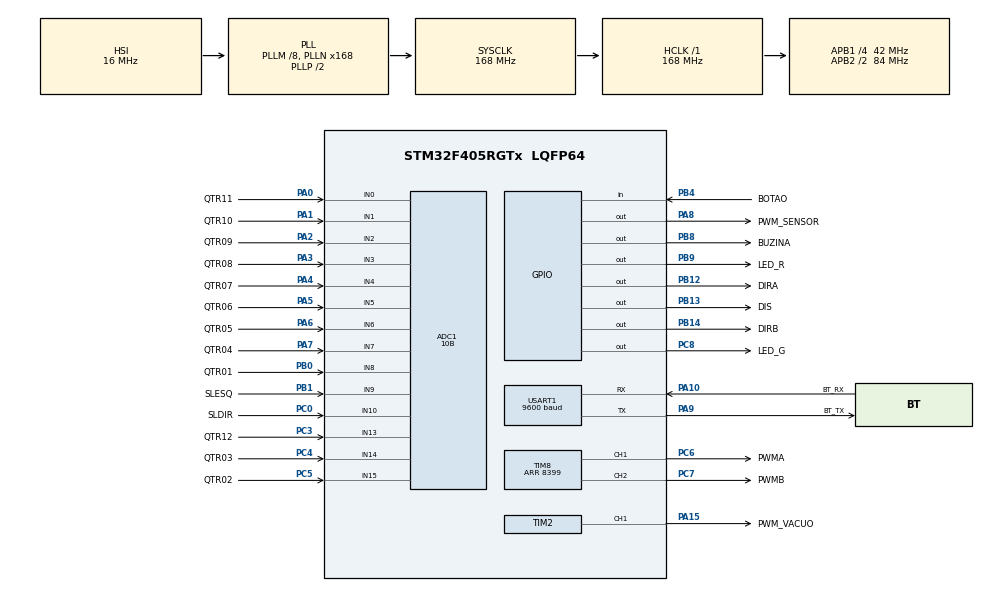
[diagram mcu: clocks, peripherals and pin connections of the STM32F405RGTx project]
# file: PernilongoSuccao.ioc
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ADC1.Channel-0\#ChannelRegularConversion=ADC_CHANNEL_10
ADC1.Channel-1\#ChannelRegularConversion=ADC_CHANNEL_13
ADC1.Channel-10\#ChannelRegularConversion=ADC_CHANNEL_14
ADC1.Channel-11\#ChannelRegularConversion=ADC_CHANNEL_15
ADC1.Channel-12\#ChannelRegularConversion=ADC_CHANNEL_8
ADC1.Channel-13\#ChannelRegularConversion=ADC_CHANNEL_9
ADC1.Channel-2\#ChannelRegularConversion=ADC_CHANNEL_0
ADC1.Channel-3\#ChannelRegularConversion=ADC_CHANNEL_1
ADC1.Channel-4\#ChannelRegularConversion=ADC_CHANNEL_2
ADC1.Channel-5\#ChannelRegularConversion=ADC_CHANNEL_3
ADC1.Channel-6\#ChannelRegularConversion=ADC_CHANNEL_4
ADC1.Channel-7\#ChannelRegularConversion=ADC_CHANNEL_5
ADC1.Channel-8\#ChannelRegularConversion=ADC_CHANNEL_6
ADC1.Channel-9\#ChannelRegularConversion=ADC_CHANNEL_7
ADC1.ContinuousConvMode=ENABLE
ADC1.DMAContinuousRequests=ENABLE
ADC1.NbrOfConversion=14
ADC1.NbrOfConversionFlag=1
ADC1.Rank-0\#ChannelRegularConversion=1
ADC1.Rank-1\#ChannelRegularConversion=2
ADC1.Rank-10\#ChannelRegularConversion=11
ADC1.Rank-11\#ChannelRegularConversion=12
ADC1.Rank-12\#ChannelRegularConversion=13
ADC1.Rank-13\#ChannelRegularConversion=14
ADC1.Rank-2\#ChannelRegularConversion=3
ADC1.Rank-3\#ChannelRegularConversion=4
ADC1.Rank-4\#ChannelRegularConversion=5
ADC1.Rank-5\#ChannelRegularConversion=6
ADC1.Rank-6\#ChannelRegularConversion=7
ADC1.Rank-7\#ChannelRegularConversion=8
ADC1.Rank-8\#ChannelRegularConversion=9
ADC1.Rank-9\#ChannelRegularConversion=10
ADC1.Resolution=ADC_RESOLUTION_10B
ADC1.SamplingTime-0\#ChannelRegularConversion=ADC_SAMPLETIME_15CYCLES
ADC1.SamplingTime-1\#ChannelRegularConversion=ADC_SAMPLETIME_15CYCLES
ADC1.SamplingTime-10\#ChannelRegularConversion=ADC_SAMPLETIME_15CYCLES
ADC1.SamplingTime-11\#ChannelRegularConversion=ADC_SAMPLETIME_15CYCLES
ADC1.SamplingTime-12\#ChannelRegularConversion=ADC_SAMPLETIME_15CYCLES
ADC1.SamplingTime-13\#ChannelRegularConversion=ADC_SAMPLETIME_15CYCLES
ADC1.SamplingTime-2\#ChannelRegularConversion=ADC_SAMPLETIME_15CYCLES
ADC1.SamplingTime-3\#ChannelRegularConversion=ADC_SAMPLETIME_15CYCLES
ADC1.SamplingTime-4\#ChannelRegularConversion=ADC_SAMPLETIME_15CYCLES
ADC1.SamplingTime-5\#ChannelRegularConversion=ADC_SAMPLETIME_15CYCLES
ADC1.SamplingTime-6\#ChannelRegularConversion=ADC_SAMPLETIME_15CYCLES
ADC1.SamplingTime-7\#ChannelRegularConversion=ADC_SAMPLETIME_15CYCLES
ADC1.SamplingTime-8\#ChannelRegularConversion=ADC_SAMPLETIME_15CYCLES
ADC1.SamplingTime-9\#ChannelRegularConversion=ADC_SAMPLETIME_15CYCLES
ADC1.ScanConvMode=ENABLE
ADC1.master=1
Dma.ADC1.0.Direction=DMA_PERIPH_TO_MEMORY
Dma.ADC1.0.FIFOMode=DMA_FIFOMODE_DISABLE
Dma.ADC1.0.Instance=DMA2_Stream0
Dma.ADC1.0.MemDataAlignment=DMA_MDATAALIGN_HALFWORD
Dma.ADC1.0.MemInc=DMA_MINC_ENABLE
Dma.ADC1.0.Mode=DMA_CIRCULAR
Dma.ADC1.0.PeriphDataAlignment=DMA_PDATAALIGN_HALFWORD
Dma.ADC1.0.PeriphInc=DMA_PINC_DISABLE
Dma.ADC1.0.Priority=DMA_PRIORITY_LOW
Dma.Request0=ADC1
Mcu.Family=STM32F4
Mcu.Name=STM32F405RGTx
Mcu.Package=LQFP64
NVIC.DMA2_Stream0_IRQn=true\:0\:0\:false\:false\:true\:false\:true\:true
NVIC.PriorityGroup=NVIC_PRIORITYGROUP_4
NVIC.TIM6_DAC_IRQn=true\:0\:0\:false\:false\:true\:true\:true\:true
NVIC.USART1_IRQn=true\:1\:0\:false\:false\:true\:true\:true\:true
PA0-WKUP.GPIO_Label=QTR11
PA0-WKUP.Signal=ADCx_IN0
PA1.GPIO_Label=QTR10
PA1.Signal=ADCx_IN1
PA10.GPIO_Label=BT_RX
PA10.Mode=Asynchronous
PA10.Signal=USART1_RX
PA13.Mode=Serial_Wire
PA13.Signal=SYS_JTMS-SWDIO
PA14.Mode=Serial_Wire
PA14.Signal=SYS_JTCK-SWCLK
PA15.GPIO_Label=PWM_VACUO
PA15.Signal=S_TIM2_CH1_ETR
PA2.GPIO_Label=QTR09
PA2.Signal=ADCx_IN2
PA3.GPIO_Label=QTR08
PA3.Signal=ADCx_IN3
PA4.GPIO_Label=QTR07
PA4.Signal=ADCx_IN4
PA5.GPIO_Label=QTR06
PA5.Signal=ADCx_IN5
PA6.GPIO_Label=QTR05
PA6.Signal=ADCx_IN6
PA7.GPIO_Label=QTR04
PA7.Signal=ADCx_IN7
PA8.GPIO_Label=PWM_SENSOR
PA8.Signal=GPIO_Output
PA9.GPIO_Label=BT_TX
PA9.Mode=Asynchronous
PA9.Signal=USART1_TX
PB0.GPIO_Label=QTR01
PB0.Signal=ADCx_IN8
PB1.GPIO_Label=SLESQ
PB1.Signal=ADCx_IN9
PB12.GPIO_Label=DIRA
PB12.Signal=GPIO_Output
PB13.GPIO_Label=DIS
PB13.PinState=GPIO_PIN_SET
PB13.Signal=GPIO_Output
PB14.GPIO_Label=DIRB
PB14.Signal=GPIO_Output
PB4.GPIO_Label=BOTAO
PB4.Signal=GPIO_Input
PB8.GPIO_Label=BUZINA
PB8.Signal=GPIO_Output
PB9.GPIO_Label=LED_R
PB9.Signal=GPIO_Output
PC0.GPIO_Label=SLDIR
PC0.Signal=ADCx_IN10
PC3.GPIO_Label=QTR12
PC3.Signal=ADCx_IN13
PC4.GPIO_Label=QTR03
PC4.Signal=ADCx_IN14
PC5.GPIO_Label=QTR02
PC5.Signal=ADCx_IN15
PC6.GPIO_Label=PWMA
PC6.Signal=S_TIM8_CH1
PC7.GPIO_Label=PWMB
PC7.Signal=S_TIM8_CH2
PC8.GPIO_Label=LED_G
PC8.Signal=GPIO_Output
ProjectManager.HeapSize=0x200
ProjectManager.StackSize=0x400
ProjectManager.TargetToolchain=STM32CubeIDE
RCC.48MHZClocksFreq_Value=84000000
RCC.AHBFreq_Value=168000000
RCC.APB1CLKDivider=RCC_HCLK_DIV4
RCC.APB1Freq_Value=42000000
RCC.APB1TimFreq_Value=84000000
RCC.APB2CLKDivider=RCC_HCLK_DIV2
RCC.APB2Freq_Value=84000000
RCC.APB2TimFreq_Value=168000000
RCC.CortexFreq_Value=168000000
RCC.HCLKFreq_Value=168000000
RCC.HSE_VALUE=25000000
RCC.HSI_VALUE=16000000
RCC.LSE_VALUE=32768
RCC.PLLM=8
RCC.PLLN=168
RCC.SYSCLKFreq_VALUE=168000000
RCC.SYSCLKSource=RCC_SYSCLKSOURCE_PLLCLK
RCC.VCOOutputFreq_Value=336000000
SH.ADCx_IN0.0=ADC1_IN0,IN0
SH.ADCx_IN1.0=ADC1_IN1,IN1
SH.ADCx_IN10.0=ADC1_IN10,IN10
SH.ADCx_IN13.0=ADC1_IN13,IN13
SH.ADCx_IN14.0=ADC1_IN14,IN14
SH.ADCx_IN15.0=ADC1_IN15,IN15
SH.ADCx_IN2.0=ADC1_IN2,IN2
SH.ADCx_IN3.0=ADC1_IN3,IN3
SH.ADCx_IN4.0=ADC1_IN4,IN4
SH.ADCx_IN5.0=ADC1_IN5,IN5
SH.ADCx_IN6.0=ADC1_IN6,IN6
SH.ADCx_IN7.0=ADC1_IN7,IN7
SH.ADCx_IN8.0=ADC1_IN8,IN8
SH.ADCx_IN9.0=ADC1_IN9,IN9
SH.S_TIM2_CH1_ETR.0=TIM2_CH1,PWM Generation1 CH1
SH.S_TIM8_CH1.0=TIM8_CH1,PWM Generation1 CH1
SH.S_TIM8_CH2.0=TIM8_CH2,PWM Generation2 CH2
TIM2.AutoReloadPreload=TIM_AUTORELOAD_PRELOAD_ENABLE
TIM2.Channel-PWM\ Generation1\ CH1=TIM_CHANNEL_1
TIM2.Period=4199
TIM6.Period=9
TIM6.Prescaler=8399
TIM8.AutoReloadPreload=TIM_AUTORELOAD_PRELOAD_ENABLE
TIM8.Channel-PWM\ Generation1\ CH1=TIM_CHANNEL_1
TIM8.Channel-PWM\ Generation2\ CH2=TIM_CHANNEL_2
TIM8.Period=8399
USART1.BaudRate=9600
USART1.VirtualMode=VM_ASYNC
VP_TIM2_VS_ClockSourceINT.Mode=Internal
VP_TIM6_VS_ClockSourceINT.Mode=Enable_Timer
VP_TIM8_VS_ClockSourceINT.Mode=Internal
board=custom

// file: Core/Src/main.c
/* USER CODE BEGIN Header */
/**
  ******************************************************************************
  * @file           : main.c
  * @brief          : Main program body
  ******************************************************************************
  * @attention
  *
  * Copyright (c) 2025 STMicroelectronics.
  * All rights reserved.
  *
  * This software is licensed under terms that can be found in the LICENSE file
  * in the root directory of this software component.
  * If no LICENSE file comes with this software, it is provided AS-IS.
  *
  ******************************************************************************
  */
/* USER CODE END Header */
#include "main.h"

/* USER CODE BEGIN Includes */
#include "stm32f4xx_hal.h"
#include <stdio.h>
#include <stdint.h>
#include <stdbool.h>
#include <stdlib.h>
#include "config_robo.h"
#include "controle_motor.h"
#include "controle_succao.h"
#include "sensor_linha.h"
#include "marcador_lateral.h"
#include "controlador_pid.h"
#include "interface_usuario.h"
#include "comunicacao_bluetooth.h"
/* USER CODE END Includes */

ADC_HandleTypeDef hadc1;
DMA_HandleTypeDef hdma_adc1;

TIM_HandleTypeDef htim2;
TIM_HandleTypeDef htim6;
TIM_HandleTypeDef htim8;

UART_HandleTypeDef huart1;

/* USER CODE BEGIN PV */
/*
 * Máquina de estados simplificada em relação ao código original:
 * sem encoders não há mapeamento de pista, aceleração em retas por distância
 * nem desaceleração por velocidade medida. O restante do fluxo é o mesmo.
 */
typedef enum {
    ESTADO_INICIO,
    ESTADO_CALIBRANDO,
    ESTADO_AGUARDANDO_CORRIDA,
    ESTADO_CORRIDA,
    ESTADO_FORA_DA_PISTA,
    ESTADO_FINALIZADO,
    ESTADO_FRENANDO_FINAL,
    ESTADO_AGUARDANDO_REINICIO,
    ESTADO_ERRO
} EstadoRobo;

static volatile EstadoRobo g_estado_robo = ESTADO_INICIO;
static uint8_t g_fim_corrida = 0;
volatile bool g_flag_loop_1ms = false;
volatile bool g_flag_loop_10ms = false;
static volatile int g_contador_loop_lento = 0;
static volatile int g_contador_frenagem_ms = 0;
long range_posicao_sensor = SENSOR_POSICAO_MAX - SENSOR_POSICAO_MIN;
long range_posicao_interpolada = POSICAO_ENTRADA_MAX - POSICAO_ENTRADA_MIN;
/* USER CODE END PV */

void SystemClock_Config(void);
static void MX_GPIO_Init(void);
static void MX_DMA_Init(void);
static void MX_ADC1_Init(void);
static void MX_TIM8_Init(void);
static void MX_TIM6_Init(void);
static void MX_TIM2_Init(void);
static void MX_USART1_UART_Init(void);
/* USER CODE BEGIN PFP */
void executar_loop_rapido(int pos_mapeada);
void executar_loop_lento(void);
static void aguardar_ms_atualizando(uint32_t duracao_ms);
static void desligar_tudo(void);
/* USER CODE END PFP */

int main(void)
{

  /* MCU Configuration--------------------------------------------------------*/

  /* Reset of all peripherals, Initializes the Flash interface and the Systick. */
  HAL_Init();

  /* Configure the system clock */
  SystemClock_Config();

  /* Initialize all configured peripherals */
  MX_GPIO_Init();
  MX_DMA_Init();
  MX_ADC1_Init();
  MX_TIM8_Init();
  MX_TIM6_Init();
  MX_TIM2_Init();
  MX_USART1_UART_Init();
  /* USER CODE BEGIN 2 */
    iu_inicializar();
    motor_inicializar(&htim8);
    succao_inicializar(&htim2);
    sensor_linha_inicializar(&hadc1);
    marcador_lateral_inicializar(sensor_linha_obter_buffer_dma());
    pid_inicializar();
    bt_inicializar(&huart1);
    motor_parar(true);
    HAL_TIM_Base_Start_IT(&htim6);
  /* USER CODE END 2 */

  /* Infinite loop */
  while (1){

    /* USER CODE BEGIN 3 */
//	  sensor_linha_depuracao();          // Descomente para ver os 14 canais na bancada
//	  HAL_Delay(200);

	  // --- LOOP RÁPIDO (1ms) ---
	      if (g_flag_loop_1ms) {
	        g_flag_loop_1ms = false;
			int pos_bruta = sensor_linha_ler_posicao();
			int pos_mapeada = (int)(((long)(pos_bruta - SENSOR_POSICAO_MIN) * range_posicao_interpolada) / range_posicao_sensor + POSICAO_ENTRADA_MIN);

	          if (g_estado_robo == ESTADO_CORRIDA) {
	        	  //Verifica se saiu fora da pista
	        	  if (sensor_linha_is_robo_fora_da_pista(pos_mapeada)) {
					 // Se saiu, muda o estado e para os motores.
					 g_estado_robo = ESTADO_FORA_DA_PISTA;
					 desligar_tudo();
				 } else {
					 executar_loop_rapido(pos_mapeada);
				 }
	          } else if (g_estado_robo == ESTADO_FRENANDO_FINAL) {
	        	  executar_loop_rapido(pos_mapeada);
	          }
	      }

		   //--- LOOP LENTO (10ms) ---
		  if (g_flag_loop_10ms) {
			  g_flag_loop_10ms = false;
			  iu_atualizar();      // Atualiza buzina
			  succao_atualizar();  // Rampa do ventilador
			  if (g_estado_robo == ESTADO_CORRIDA) {
				  executar_loop_lento(); // Verifica marcadores de pista
			  }
		  }

		  // Máquina de estados principal
	  	  switch (g_estado_robo) {
	  		  case ESTADO_INICIO:
	  			  iu_led_verde(false);
	  			  iu_led_vermelho(false);
	  			  printf("Pressione o botao para calibrar.\r\n");
	  			  iu_aguardar_botao();
	  			  iu_bip_bloqueante(100);
	  			  g_estado_robo = ESTADO_CALIBRANDO;
	  			  break;

	  		  case ESTADO_CALIBRANDO:
	  			  iu_led_vermelho(true);   // Calibrando: mova o robô sobre a linha
	  			  marcador_lateral_resetar_calibracao();
	  			  sensor_linha_calibrar();
	  			  marcador_lateral_finalizar_calibracao();
	  			  iu_led_vermelho(false);
	  			  g_estado_robo = ESTADO_AGUARDANDO_CORRIDA;
	  			  break;

	  		  case ESTADO_AGUARDANDO_CORRIDA:
	  			  iu_led_verde(true);      // Pronto para largar
	  			  printf("Pressione para iniciar a corrida.\r\n");
	  			  iu_aguardar_botao();
	  			  iu_buzina_temporizada(150);
	  			  // Liga a sucção no botão: ela sobe em rampa durante a espera.
	  			  succao_definir_potencia(POTENCIA_SUCCAO_PCT);
	  			  aguardar_ms_atualizando(TEMPO_ESPERA_LARGADA_MS);
	  			  pid_inicializar();
	  			  g_fim_corrida = 0;
	  			  motor_parar(false);
	  			  g_estado_robo = ESTADO_CORRIDA;
	  			  break;

	  		  case ESTADO_CORRIDA:
	  			  break;

	  		  case ESTADO_FORA_DA_PISTA:
				  desligar_tudo(); // Mantém os motores e a sucção desligados
				  iu_led_verde(false);
				  iu_led_vermelho(true);
				  printf("ROBO PERDEU A LINHA!\r\n");
				  iu_buzina_temporizada(200);
				  iu_atualizar();
				  iu_aguardar_botao();
				  HAL_Delay(400);
				  //Reseta a um estado inicial seguro
				  g_estado_robo = ESTADO_INICIO;
				  break;

	  		  case ESTADO_FINALIZADO:
	  			  // Inicia a frenagem por contra-corrente (tratada no loop rápido)
	  			  g_contador_frenagem_ms = TEMPO_FRENAGEM_MS;
	  			  g_estado_robo = ESTADO_FRENANDO_FINAL;
	  			  break;

	  		  case ESTADO_FRENANDO_FINAL:
	  			  // A transição é feita pelo loop rápido quando o tempo de frenagem acaba.
	  			  break;

	  		  case ESTADO_AGUARDANDO_REINICIO:
	  			  iu_led_verde(false);
	  			  printf("Corrida finalizada. Pressione o botao para reiniciar.\r\n");
	  			  iu_aguardar_botao();
	  			  g_estado_robo = ESTADO_INICIO;
	  			  break;

	  		  case ESTADO_ERRO:
	  			   desligar_tudo();
	  			   iu_led_vermelho(true);
	  			   printf("ERRO! Sistema parado.\n");
	  			   while(1) {
	  				   iu_buzina_temporizada(100);
	                   iu_atualizar();
	  				   HAL_Delay(500);
	  			   }
	  			  break;
	  	    }
	      }
  /* USER CODE END 3 */
}

void SystemClock_Config(void)
{
  RCC_OscInitTypeDef RCC_OscInitStruct = {0};
  RCC_ClkInitTypeDef RCC_ClkInitStruct = {0};

  /** Configure the main internal regulator output voltage
  */
  __HAL_RCC_PWR_CLK_ENABLE();
  __HAL_PWR_VOLTAGESCALING_CONFIG(PWR_REGULATOR_VOLTAGE_SCALE1);

  /** Initializes the RCC Oscillators according to the specified parameters
  * in the RCC_OscInitTypeDef structure.
  */
  RCC_OscInitStruct.OscillatorType = RCC_OSCILLATORTYPE_HSI;
  RCC_OscInitStruct.HSIState = RCC_HSI_ON;
  RCC_OscInitStruct.HSICalibrationValue = RCC_HSICALIBRATION_DEFAULT;
  RCC_OscInitStruct.PLL.PLLState = RCC_PLL_ON;
  RCC_OscInitStruct.PLL.PLLSource = RCC_PLLSOURCE_HSI;
  RCC_OscInitStruct.PLL.PLLM = 8;
  RCC_OscInitStruct.PLL.PLLN = 168;
  RCC_OscInitStruct.PLL.PLLP = RCC_PLLP_DIV2;
  RCC_OscInitStruct.PLL.PLLQ = 4;
  if (HAL_RCC_OscConfig(&RCC_OscInitStruct) != HAL_OK)
  {
    Error_Handler();
  }

  /** Initializes the CPU, AHB and APB buses clocks
  */
  RCC_ClkInitStruct.ClockType = RCC_CLOCKTYPE_HCLK|RCC_CLOCKTYPE_SYSCLK
                              |RCC_CLOCKTYPE_PCLK1|RCC_CLOCKTYPE_PCLK2;
  RCC_ClkInitStruct.SYSCLKSource = RCC_SYSCLKSOURCE_PLLCLK;
  RCC_ClkInitStruct.AHBCLKDivider = RCC_SYSCLK_DIV1;
  RCC_ClkInitStruct.APB1CLKDivider = RCC_HCLK_DIV4;
  RCC_ClkInitStruct.APB2CLKDivider = RCC_HCLK_DIV2;

  if (HAL_RCC_ClockConfig(&RCC_ClkInitStruct, FLASH_LATENCY_5) != HAL_OK)
  {
    Error_Handler();
  }
}

static void MX_ADC1_Init(void)
{

  ADC_ChannelConfTypeDef sConfig = {0};

  /** Configure the global features of the ADC (Clock, Resolution, Data Alignment and number of conversion)
  */
  hadc1.Instance = ADC1;
  hadc1.Init.ClockPrescaler = ADC_CLOCK_SYNC_PCLK_DIV4;
  hadc1.Init.Resolution = ADC_RESOLUTION_10B;
  hadc1.Init.ScanConvMode = ENABLE;
  hadc1.Init.ContinuousConvMode = ENABLE;
  hadc1.Init.DiscontinuousConvMode = DISABLE;
  hadc1.Init.ExternalTrigConvEdge = ADC_EXTERNALTRIGCONVEDGE_NONE;
  hadc1.Init.ExternalTrigConv = ADC_SOFTWARE_START;
  hadc1.Init.DataAlign = ADC_DATAALIGN_RIGHT;
  hadc1.Init.NbrOfConversion = 14;
  hadc1.Init.DMAContinuousRequests = ENABLE;
  hadc1.Init.EOCSelection = ADC_EOC_SINGLE_CONV;
  if (HAL_ADC_Init(&hadc1) != HAL_OK)
  {
    Error_Handler();
  }

  /** Configure for the selected ADC regular channel its corresponding rank in the sequencer and its sample time.
  */
  sConfig.Channel = ADC_CHANNEL_10;
  sConfig.Rank = 1;
  sConfig.SamplingTime = ADC_SAMPLETIME_15CYCLES;
  if (HAL_ADC_ConfigChannel(&hadc1, &sConfig) != HAL_OK)
  {
    Error_Handler();
  }

  /** Configure for the selected ADC regular channel its corresponding rank in the sequencer and its sample time.
  */
  sConfig.Channel = ADC_CHANNEL_13;
  sConfig.Rank = 2;
  if (HAL_ADC_ConfigChannel(&hadc1, &sConfig) != HAL_OK)
  {
    Error_Handler();
  }

  /** Configure for the selected ADC regular channel its corresponding rank in the sequencer and its sample time.
  */
  sConfig.Channel = ADC_CHANNEL_0;
  sConfig.Rank = 3;
  if (HAL_ADC_ConfigChannel(&hadc1, &sConfig) != HAL_OK)
  {
    Error_Handler();
  }

  /** Configure for the selected ADC regular channel its corresponding rank in the sequencer and its sample time.
  */
  sConfig.Channel = ADC_CHANNEL_1;
  sConfig.Rank = 4;
  if (HAL_ADC_ConfigChannel(&hadc1, &sConfig) != HAL_OK)
  {
    Error_Handler();
  }

  /** Configure for the selected ADC regular channel its corresponding rank in the sequencer and its sample time.
  */
  sConfig.Channel = ADC_CHANNEL_2;
  sConfig.Rank = 5;
  if (HAL_ADC_ConfigChannel(&hadc1, &sConfig) != HAL_OK)
  {
    Error_Handler();
  }

  /** Configure for the selected ADC regular channel its corresponding rank in the sequencer and its sample time.
  */
  sConfig.Channel = ADC_CHANNEL_3;
  sConfig.Rank = 6;
  if (HAL_ADC_ConfigChannel(&hadc1, &sConfig) != HAL_OK)
  {
    Error_Handler();
  }

  /** Configure for the selected ADC regular channel its corresponding rank in the sequencer and its sample time.
  */
  sConfig.Channel = ADC_CHANNEL_4;
  sConfig.Rank = 7;
  if (HAL_ADC_ConfigChannel(&hadc1, &sConfig) != HAL_OK)
  {
    Error_Handler();
  }

  /** Configure for the selected ADC regular channel its corresponding rank in the sequencer and its sample time.
  */
  sConfig.Channel = ADC_CHANNEL_5;
  sConfig.Rank = 8;
  if (HAL_ADC_ConfigChannel(&hadc1, &sConfig) != HAL_OK)
  {
    Error_Handler();
  }

  /** Configure for the selected ADC regular channel its corresponding rank in the sequencer and its sample time.
  */
  sConfig.Channel = ADC_CHANNEL_6;
  sConfig.Rank = 9;
  if (HAL_ADC_ConfigChannel(&hadc1, &sConfig) != HAL_OK)
  {
    Error_Handler();
  }

  /** Configure for the selected ADC regular channel its corresponding rank in the sequencer and its sample time.
  */
  sConfig.Channel = ADC_CHANNEL_7;
  sConfig.Rank = 10;
  if (HAL_ADC_ConfigChannel(&hadc1, &sConfig) != HAL_OK)
  {
    Error_Handler();
  }

  /** Configure for the selected ADC regular channel its corresponding rank in the sequencer and its sample time.
  */
  sConfig.Channel = ADC_CHANNEL_14;
  sConfig.Rank = 11;
  if (HAL_ADC_ConfigChannel(&hadc1, &sConfig) != HAL_OK)
  {
    Error_Handler();
  }

  /** Configure for the selected ADC regular channel its corresponding rank in the sequencer and its sample time.
  */
  sConfig.Channel = ADC_CHANNEL_15;
  sConfig.Rank = 12;
  if (HAL_ADC_ConfigChannel(&hadc1, &sConfig) != HAL_OK)
  {
    Error_Handler();
  }

  /** Configure for the selected ADC regular channel its corresponding rank in the sequencer and its sample time.
  */
  sConfig.Channel = ADC_CHANNEL_8;
  sConfig.Rank = 13;
  if (HAL_ADC_ConfigChannel(&hadc1, &sConfig) != HAL_OK)
  {
    Error_Handler();
  }

  /** Configure for the selected ADC regular channel its corresponding rank in the sequencer and its sample time.
  */
  sConfig.Channel = ADC_CHANNEL_9;
  sConfig.Rank = 14;
  if (HAL_ADC_ConfigChannel(&hadc1, &sConfig) != HAL_OK)
  {
    Error_Handler();
  }

}

static void MX_TIM2_Init(void)
{

  TIM_ClockConfigTypeDef sClockSourceConfig = {0};
  TIM_MasterConfigTypeDef sMasterConfig = {0};
  TIM_OC_InitTypeDef sConfigOC = {0};

  htim2.Instance = TIM2;
  htim2.Init.Prescaler = 0;
  htim2.Init.CounterMode = TIM_COUNTERMODE_UP;
  htim2.Init.Period = 4199;
  htim2.Init.ClockDivision = TIM_CLOCKDIVISION_DIV1;
  htim2.Init.AutoReloadPreload = TIM_AUTORELOAD_PRELOAD_ENABLE;
  if (HAL_TIM_Base_Init(&htim2) != HAL_OK)
  {
    Error_Handler();
  }
  sClockSourceConfig.ClockSource = TIM_CLOCKSOURCE_INTERNAL;
  if (HAL_TIM_ConfigClockSource(&htim2, &sClockSourceConfig) != HAL_OK)
  {
    Error_Handler();
  }
  if (HAL_TIM_PWM_Init(&htim2) != HAL_OK)
  {
    Error_Handler();
  }
  sMasterConfig.MasterOutputTrigger = TIM_TRGO_RESET;
  sMasterConfig.MasterSlaveMode = TIM_MASTERSLAVEMODE_DISABLE;
  if (HAL_TIMEx_MasterConfigSynchronization(&htim2, &sMasterConfig) != HAL_OK)
  {
    Error_Handler();
  }
  sConfigOC.OCMode = TIM_OCMODE_PWM1;
  sConfigOC.Pulse = 0;
  sConfigOC.OCPolarity = TIM_OCPOLARITY_HIGH;
  sConfigOC.OCFastMode = TIM_OCFAST_DISABLE;
  if (HAL_TIM_PWM_ConfigChannel(&htim2, &sConfigOC, TIM_CHANNEL_1) != HAL_OK)
  {
    Error_Handler();
  }
  HAL_TIM_MspPostInit(&htim2);

}

static void MX_TIM6_Init(void)
{

  TIM_MasterConfigTypeDef sMasterConfig = {0};

  htim6.Instance = TIM6;
  htim6.Init.Prescaler = 8399;
  htim6.Init.CounterMode = TIM_COUNTERMODE_UP;
  htim6.Init.Period = 9;
  htim6.Init.AutoReloadPreload = TIM_AUTORELOAD_PRELOAD_DISABLE;
  if (HAL_TIM_Base_Init(&htim6) != HAL_OK)
  {
    Error_Handler();
  }
  sMasterConfig.MasterOutputTrigger = TIM_TRGO_RESET;
  sMasterConfig.MasterSlaveMode = TIM_MASTERSLAVEMODE_DISABLE;
  if (HAL_TIMEx_MasterConfigSynchronization(&htim6, &sMasterConfig) != HAL_OK)
  {
    Error_Handler();
  }

}

static void MX_TIM8_Init(void)
{

  TIM_ClockConfigTypeDef sClockSourceConfig = {0};
  TIM_MasterConfigTypeDef sMasterConfig = {0};
  TIM_OC_InitTypeDef sConfigOC = {0};
  TIM_BreakDeadTimeConfigTypeDef sBreakDeadTimeConfig = {0};

  htim8.Instance = TIM8;
  htim8.Init.Prescaler = 0;
  htim8.Init.CounterMode = TIM_COUNTERMODE_UP;
  htim8.Init.Period = 8399;
  htim8.Init.ClockDivision = TIM_CLOCKDIVISION_DIV1;
  htim8.Init.RepetitionCounter = 0;
  htim8.Init.AutoReloadPreload = TIM_AUTORELOAD_PRELOAD_ENABLE;
  if (HAL_TIM_Base_Init(&htim8) != HAL_OK)
  {
    Error_Handler();
  }
  sClockSourceConfig.ClockSource = TIM_CLOCKSOURCE_INTERNAL;
  if (HAL_TIM_ConfigClockSource(&htim8, &sClockSourceConfig) != HAL_OK)
  {
    Error_Handler();
  }
  if (HAL_TIM_PWM_Init(&htim8) != HAL_OK)
  {
    Error_Handler();
  }
  sMasterConfig.MasterOutputTrigger = TIM_TRGO_RESET;
  sMasterConfig.MasterSlaveMode = TIM_MASTERSLAVEMODE_DISABLE;
  if (HAL_TIMEx_MasterConfigSynchronization(&htim8, &sMasterConfig) != HAL_OK)
  {
    Error_Handler();
  }
  sConfigOC.OCMode = TIM_OCMODE_PWM1;
  sConfigOC.Pulse = 0;
  sConfigOC.OCPolarity = TIM_OCPOLARITY_HIGH;
  sConfigOC.OCNPolarity = TIM_OCNPOLARITY_HIGH;
  sConfigOC.OCFastMode = TIM_OCFAST_DISABLE;
  sConfigOC.OCIdleState = TIM_OCIDLESTATE_RESET;
  sConfigOC.OCNIdleState = TIM_OCNIDLESTATE_RESET;
  if (HAL_TIM_PWM_ConfigChannel(&htim8, &sConfigOC, TIM_CHANNEL_1) != HAL_OK)
  {
    Error_Handler();
  }
  if (HAL_TIM_PWM_ConfigChannel(&htim8, &sConfigOC, TIM_CHANNEL_2) != HAL_OK)
  {
    Error_Handler();
  }
  sBreakDeadTimeConfig.OffStateRunMode = TIM_OSSR_DISABLE;
  sBreakDeadTimeConfig.OffStateIDLEMode = TIM_OSSI_DISABLE;
  sBreakDeadTimeConfig.LockLevel = TIM_LOCKLEVEL_OFF;
  sBreakDeadTimeConfig.DeadTime = 0;
  sBreakDeadTimeConfig.BreakState = TIM_BREAK_DISABLE;
  sBreakDeadTimeConfig.BreakPolarity = TIM_BREAKPOLARITY_HIGH;
  sBreakDeadTimeConfig.AutomaticOutput = TIM_AUTOMATICOUTPUT_DISABLE;
  if (HAL_TIMEx_ConfigBreakDeadTime(&htim8, &sBreakDeadTimeConfig) != HAL_OK)
  {
    Error_Handler();
  }
  HAL_TIM_MspPostInit(&htim8);

}

static void MX_USART1_UART_Init(void)
{

  huart1.Instance = USART1;
  huart1.Init.BaudRate = 9600;
  huart1.Init.WordLength = UART_WORDLENGTH_8B;
  huart1.Init.StopBits = UART_STOPBITS_1;
  huart1.Init.Parity = UART_PARITY_NONE;
  huart1.Init.Mode = UART_MODE_TX_RX;
  huart1.Init.HwFlowCtl = UART_HWCONTROL_NONE;
  huart1.Init.OverSampling = UART_OVERSAMPLING_16;
  if (HAL_UART_Init(&huart1) != HAL_OK)
  {
    Error_Handler();
  }

}

static void MX_DMA_Init(void)
{

  /* DMA controller clock enable */
  __HAL_RCC_DMA2_CLK_ENABLE();

  /* DMA interrupt init */
  /* DMA2_Stream0_IRQn interrupt configuration */
  HAL_NVIC_SetPriority(DMA2_Stream0_IRQn, 0, 0);
  HAL_NVIC_EnableIRQ(DMA2_Stream0_IRQn);

}

static void MX_GPIO_Init(void)
{
  GPIO_InitTypeDef GPIO_InitStruct = {0};

  /* GPIO Ports Clock Enable */
  __HAL_RCC_GPIOC_CLK_ENABLE();
  __HAL_RCC_GPIOA_CLK_ENABLE();
  __HAL_RCC_GPIOB_CLK_ENABLE();

  /*Configure GPIO pin Output Level */
  HAL_GPIO_WritePin(GPIOB, DIRA_Pin|DIRB_Pin|BUZINA_Pin|LED_R_Pin, GPIO_PIN_RESET);

  /*Configure GPIO pin Output Level */
  HAL_GPIO_WritePin(DIS_GPIO_Port, DIS_Pin, GPIO_PIN_SET);

  /*Configure GPIO pin Output Level */
  HAL_GPIO_WritePin(LED_G_GPIO_Port, LED_G_Pin, GPIO_PIN_RESET);

  /*Configure GPIO pin Output Level */
  HAL_GPIO_WritePin(PWM_SENSOR_GPIO_Port, PWM_SENSOR_Pin, GPIO_PIN_RESET);

  /*Configure GPIO pins : DIRA_Pin DIS_Pin DIRB_Pin BUZINA_Pin
                           LED_R_Pin */
  GPIO_InitStruct.Pin = DIRA_Pin|DIS_Pin|DIRB_Pin|BUZINA_Pin
                          |LED_R_Pin;
  GPIO_InitStruct.Mode = GPIO_MODE_OUTPUT_PP;
  GPIO_InitStruct.Pull = GPIO_NOPULL;
  GPIO_InitStruct.Speed = GPIO_SPEED_FREQ_LOW;
  HAL_GPIO_Init(GPIOB, &GPIO_InitStruct);

  /*Configure GPIO pin : LED_G_Pin */
  GPIO_InitStruct.Pin = LED_G_Pin;
  GPIO_InitStruct.Mode = GPIO_MODE_OUTPUT_PP;
  GPIO_InitStruct.Pull = GPIO_NOPULL;
  GPIO_InitStruct.Speed = GPIO_SPEED_FREQ_LOW;
  HAL_GPIO_Init(LED_G_GPIO_Port, &GPIO_InitStruct);

  /*Configure GPIO pin : PWM_SENSOR_Pin */
  GPIO_InitStruct.Pin = PWM_SENSOR_Pin;
  GPIO_InitStruct.Mode = GPIO_MODE_OUTPUT_PP;
  GPIO_InitStruct.Pull = GPIO_NOPULL;
  GPIO_InitStruct.Speed = GPIO_SPEED_FREQ_LOW;
  HAL_GPIO_Init(PWM_SENSOR_GPIO_Port, &GPIO_InitStruct);

  /*Configure GPIO pin : BOTAO_Pin */
  GPIO_InitStruct.Pin = BOTAO_Pin;
  GPIO_InitStruct.Mode = GPIO_MODE_INPUT;
  GPIO_InitStruct.Pull = GPIO_NOPULL;
  HAL_GPIO_Init(BOTAO_GPIO_Port, &GPIO_InitStruct);

}

/* USER CODE BEGIN 4 */
void executar_loop_rapido(int pos_mapeada) {

    // ESTADO DE CORRIDA: mesma lógica do original (potência base ± correção do PID),
    // porém em malha aberta, pois não há encoders para medir a velocidade.
	if (g_estado_robo == ESTADO_CORRIDA) {
		int correcao_direcao = pid_calcular_correcao(pos_mapeada);
		motor_definir_potencia(POTENCIA_BASE_CORRIDA - correcao_direcao, POTENCIA_BASE_CORRIDA + correcao_direcao);
	}
    // FRENAGEM FINAL: contra-corrente por TEMPO_FRENAGEM_MS e depois desliga tudo
	else if (g_estado_robo == ESTADO_FRENANDO_FINAL) {
		if (g_contador_frenagem_ms > 0) {
			motor_frear();
		} else {
			desligar_tudo();
			iu_buzina_temporizada(1000); // Som de finalização
			g_estado_robo = ESTADO_AGUARDANDO_REINICIO;
		}
	}
}

// Loop de 10ms
void executar_loop_lento(void) {
    // Contém a verificação de marcadores e outras tarefas não críticas
    TipoMarcador marcador = marcador_lateral_verificar();
    if (marcador == MARCADOR_NENHUM) {
        return;
    }

	if (marcador == MARCADOR_ESQUERDA || marcador == MARCADOR_DIREITA) {
		iu_buzina_temporizada(30);
		if (marcador == MARCADOR_DIREITA) {
			iu_buzina_temporizada(100);
			g_fim_corrida++;
		}
		// Verificação de fim de corrida (largada + chegada)
		if (g_fim_corrida >= MARCADORES_DIREITA_FIM_CORRIDA) {
			g_estado_robo = ESTADO_FINALIZADO;
		}
	} else if (marcador == MARCADOR_AMBOS) {
		//iu_buzina_temporizada(100);   // Cruzamento: ignorado, como no original
	}
}

/* Desliga motores (DIS alto) e sucção. */
static void desligar_tudo(void) {
	motor_parar(true);
	succao_desligar();
}

/* Espera sem bloquear a rampa da sucção nem a buzina (substitui HAL_Delay). */
static void aguardar_ms_atualizando(uint32_t duracao_ms) {
	uint32_t inicio = HAL_GetTick();
	while ((HAL_GetTick() - inicio) < duracao_ms) {
		if (g_flag_loop_10ms) {
			g_flag_loop_10ms = false;
			iu_atualizar();
			succao_atualizar();
		}
	}
}

void HAL_TIM_PeriodElapsedCallback(TIM_HandleTypeDef *htim)
{
	if (htim->Instance == TIM6) {
		// A interrupção acontece a cada 1ms
		// 1. Aciona o loop rápido toda vez
		g_flag_loop_1ms = true;

		// 2. Decrementa o timer de frenagem se ele estiver ativo
		   if (g_contador_frenagem_ms > 0) {
			   g_contador_frenagem_ms--;
		   }

		/*3. O timer para lógica de reconhecimento de linha perdida
		   no arquivo sensor_linha.c*/
		   sensor_linha_tick_1ms();

		// 4. Usa um contador para acionar o loop lento a cada 10ms
		g_contador_loop_lento++;
		if (g_contador_loop_lento >= 10) {
		  g_flag_loop_10ms = true;
		  g_contador_loop_lento = 0;
		}
	  }
}

void HAL_UART_RxCpltCallback(UART_HandleTypeDef *huart)
{
	bt_callback_rx(huart);
}

void HAL_UART_ErrorCallback(UART_HandleTypeDef *huart)
{
	bt_callback_erro(huart);
}
/* USER CODE END 4 */

void Error_Handler(void)
{
  __disable_irq();
  while (1)
  {
  }
}
